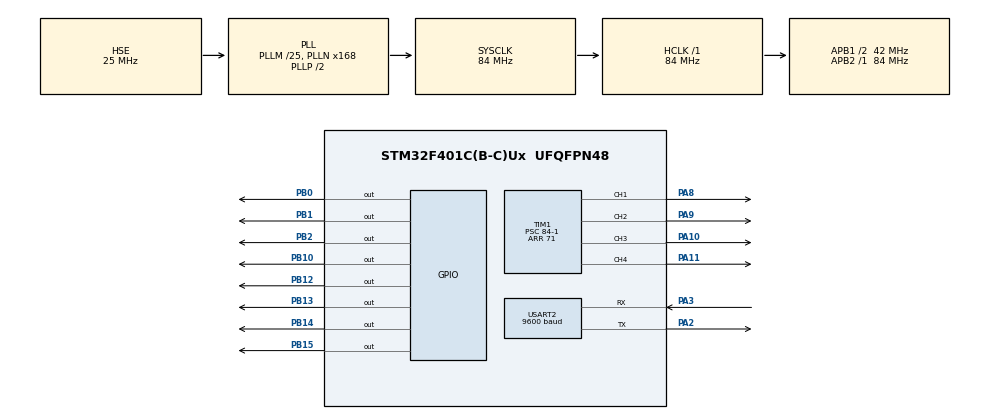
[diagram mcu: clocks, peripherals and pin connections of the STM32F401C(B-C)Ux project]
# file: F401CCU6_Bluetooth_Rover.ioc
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Mcu.Family=STM32F4
Mcu.Name=STM32F401C(B-C)Ux
Mcu.Package=UFQFPN48
NVIC.PriorityGroup=NVIC_PRIORITYGROUP_4
NVIC.USART2_IRQn=true\:0\:0\:false\:false\:true\:true\:true\:true
PA10.Signal=S_TIM1_CH3
PA11.Signal=S_TIM1_CH4
PA13.Mode=Serial_Wire
PA13.Signal=SYS_JTMS-SWDIO
PA14.Mode=Serial_Wire
PA14.Signal=SYS_JTCK-SWCLK
PA2.Mode=Asynchronous
PA2.Signal=USART2_TX
PA3.Mode=Asynchronous
PA3.Signal=USART2_RX
PA8.Signal=S_TIM1_CH1
PA9.Signal=S_TIM1_CH2
PB0.Signal=GPIO_Output
PB1.Signal=GPIO_Output
PB10.Signal=GPIO_Output
PB12.Signal=GPIO_Output
PB13.Signal=GPIO_Output
PB14.Signal=GPIO_Output
PB15.Signal=GPIO_Output
PB2.Signal=GPIO_Output
PC14-OSC32_IN.Mode=LSE-External-Oscillator
PC14-OSC32_IN.Signal=RCC_OSC32_IN
PC15-OSC32_OUT.Mode=LSE-External-Oscillator
PC15-OSC32_OUT.Signal=RCC_OSC32_OUT
PH0\ -\ OSC_IN.Mode=HSE-External-Oscillator
PH0\ -\ OSC_IN.Signal=RCC_OSC_IN
PH1\ -\ OSC_OUT.Mode=HSE-External-Oscillator
PH1\ -\ OSC_OUT.Signal=RCC_OSC_OUT
ProjectManager.HeapSize=0x200
ProjectManager.StackSize=0x400
ProjectManager.TargetToolchain=STM32CubeIDE
RCC.48MHZClocksFreq_Value=42000000
RCC.AHBFreq_Value=84000000
RCC.APB1CLKDivider=RCC_HCLK_DIV2
RCC.APB1Freq_Value=42000000
RCC.APB1TimFreq_Value=84000000
RCC.APB2Freq_Value=84000000
RCC.APB2TimFreq_Value=84000000
RCC.CortexFreq_Value=84000000
RCC.HCLKFreq_Value=84000000
RCC.HSE_VALUE=25000000
RCC.HSI_VALUE=16000000
RCC.PLLM=25
RCC.PLLN=168
RCC.PLLSourceVirtual=RCC_PLLSOURCE_HSE
RCC.SYSCLKFreq_VALUE=84000000
RCC.SYSCLKSource=RCC_SYSCLKSOURCE_PLLCLK
RCC.VCOOutputFreq_Value=168000000
SH.S_TIM1_CH1.0=TIM1_CH1,PWM Generation1 CH1
SH.S_TIM1_CH2.0=TIM1_CH2,PWM Generation2 CH2
SH.S_TIM1_CH3.0=TIM1_CH3,PWM Generation3 CH3
SH.S_TIM1_CH4.0=TIM1_CH4,PWM Generation4 CH4
TIM1.Channel-PWM\ Generation1\ CH1=TIM_CHANNEL_1
TIM1.Channel-PWM\ Generation2\ CH2=TIM_CHANNEL_2
TIM1.Channel-PWM\ Generation3\ CH3=TIM_CHANNEL_3
TIM1.Channel-PWM\ Generation4\ CH4=TIM_CHANNEL_4
TIM1.Period=71
TIM1.Prescaler=84-1
USART2.BaudRate=9600
USART2.VirtualMode=VM_ASYNC
VP_TIM1_VS_ClockSourceINT.Mode=Internal
board=custom

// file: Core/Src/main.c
/* USER CODE BEGIN Header */
/**
 ******************************************************************************
 * @file           : main.c
 * @brief          : Main program body
 ******************************************************************************
 * @attention
 *
 * Copyright (c) 2025 STMicroelectronics.
 * All rights reserved.
 *
 * This software is licensed under terms that can be found in the LICENSE file
 * in the root directory of this software component.
 * If no LICENSE file comes with this software, it is provided AS-IS.
 *
 ******************************************************************************
 */
/* USER CODE END Header */
#include "main.h"

/* USER CODE BEGIN Includes */
#define FORWARD   'F'   // Up Arrow
#define BACKWARD  'B'   // Down Arrow
#define LEFT      'L'   // Left Arrow
#define RIGHT     'R'   // Right Arrow

#define CIRCLE    'C'   // Circle → Rotate CW
#define CROSS     'X'   // Cross → Move FrontRight
#define TRIANGLE  'T'   // Triangle → Move FrontLeft
#define SQUARE    'S'   // Square → Rotate CCW

#define START     'A'   // Start
#define PAUSE     'P'   // Pause
/* USER CODE END Includes */

TIM_HandleTypeDef htim1;

UART_HandleTypeDef huart2;

/* USER CODE BEGIN PV */
#define RF_IN1_Pin GPIO_PIN_12
#define RF_IN2_Pin GPIO_PIN_13
#define RF_IN_Port GPIOB

#define RR_IN1_Pin GPIO_PIN_14
#define RR_IN2_Pin GPIO_PIN_15
#define RR_IN_Port GPIOB

#define LF_IN1_Pin GPIO_PIN_0
#define LF_IN2_Pin GPIO_PIN_1
#define LF_IN_Port GPIOB

#define LR_IN1_Pin GPIO_PIN_2
#define LR_IN2_Pin GPIO_PIN_10
#define LR_IN_Port GPIOB

#define PWM_MAX    999
#define PWM_SPEED  800
/* USER CODE END PV */

void SystemClock_Config(void);
static void MX_GPIO_Init(void);
static void MX_TIM1_Init(void);
static void MX_USART2_UART_Init(void);
/* USER CODE BEGIN PFP */
uint8_t rxData;
/* USER CODE END PFP */

/* USER CODE BEGIN 0 */
void SetAllMotorsPWM(uint16_t rf, uint16_t rr, uint16_t lf, uint16_t lr) {
	__HAL_TIM_SET_COMPARE(&htim1, TIM_CHANNEL_1, rf);  // PA8 RF
	__HAL_TIM_SET_COMPARE(&htim1, TIM_CHANNEL_2, rr);  // PA9 RR
	__HAL_TIM_SET_COMPARE(&htim1, TIM_CHANNEL_3, lf);  // PA10 LF
	__HAL_TIM_SET_COMPARE(&htim1, TIM_CHANNEL_4, lr);  // PA11 LR
}

void Motor_Stop(void) {
	SetAllMotorsPWM(0, 0, 0, 0);
	HAL_GPIO_WritePin(RF_IN_Port, RF_IN1_Pin | RF_IN2_Pin, GPIO_PIN_RESET);
	HAL_GPIO_WritePin(RR_IN_Port, RR_IN1_Pin | RR_IN2_Pin, GPIO_PIN_RESET);
	HAL_GPIO_WritePin(LF_IN_Port, LF_IN1_Pin | LF_IN2_Pin, GPIO_PIN_RESET);
	HAL_GPIO_WritePin(LR_IN_Port, LR_IN1_Pin | LR_IN2_Pin, GPIO_PIN_RESET);
}

/* ================== Movement Functions ================== */
void Move_Forward(void) {

	HAL_GPIO_WritePin(RF_IN_Port, RF_IN1_Pin, GPIO_PIN_RESET);
	HAL_GPIO_WritePin(RF_IN_Port, RF_IN2_Pin, GPIO_PIN_SET);

	HAL_GPIO_WritePin(RR_IN_Port, RR_IN1_Pin, GPIO_PIN_RESET);
	HAL_GPIO_WritePin(RR_IN_Port, RR_IN2_Pin, GPIO_PIN_SET);

	HAL_GPIO_WritePin(LF_IN_Port, LF_IN1_Pin, GPIO_PIN_RESET);
	HAL_GPIO_WritePin(LF_IN_Port, LF_IN2_Pin, GPIO_PIN_SET);

	HAL_GPIO_WritePin(LR_IN_Port, LR_IN1_Pin, GPIO_PIN_RESET);
	HAL_GPIO_WritePin(LR_IN_Port, LR_IN2_Pin, GPIO_PIN_SET);

	SetAllMotorsPWM(PWM_SPEED, PWM_SPEED, PWM_SPEED, PWM_SPEED);
}

void Move_Backward(void) {
	HAL_GPIO_WritePin(RF_IN_Port, RF_IN1_Pin, GPIO_PIN_SET);
	HAL_GPIO_WritePin(RF_IN_Port, RF_IN2_Pin, GPIO_PIN_RESET);

	HAL_GPIO_WritePin(RR_IN_Port, RR_IN1_Pin, GPIO_PIN_SET);
	HAL_GPIO_WritePin(RR_IN_Port, RR_IN2_Pin, GPIO_PIN_RESET);

	HAL_GPIO_WritePin(LF_IN_Port, LF_IN1_Pin, GPIO_PIN_SET);
	HAL_GPIO_WritePin(LF_IN_Port, LF_IN2_Pin, GPIO_PIN_RESET);

	HAL_GPIO_WritePin(LR_IN_Port, LR_IN1_Pin, GPIO_PIN_SET);
	HAL_GPIO_WritePin(LR_IN_Port, LR_IN2_Pin, GPIO_PIN_RESET);

	SetAllMotorsPWM(PWM_SPEED, PWM_SPEED, PWM_SPEED, PWM_SPEED);
}

void Move_Right(void) {
	// RF FWD, RR REV, LF REV, LR FWD
	HAL_GPIO_WritePin(RF_IN_Port, RF_IN1_Pin, GPIO_PIN_RESET);
	HAL_GPIO_WritePin(RF_IN_Port, RF_IN2_Pin, GPIO_PIN_SET);

	HAL_GPIO_WritePin(RR_IN_Port, RR_IN1_Pin, GPIO_PIN_SET);
	HAL_GPIO_WritePin(RR_IN_Port, RR_IN2_Pin, GPIO_PIN_RESET);

	HAL_GPIO_WritePin(LF_IN_Port, LF_IN1_Pin, GPIO_PIN_RESET);
	HAL_GPIO_WritePin(LF_IN_Port, LF_IN2_Pin, GPIO_PIN_SET);

	HAL_GPIO_WritePin(LR_IN_Port, LR_IN1_Pin, GPIO_PIN_SET);
	HAL_GPIO_WritePin(LR_IN_Port, LR_IN2_Pin, GPIO_PIN_RESET);

	SetAllMotorsPWM(PWM_SPEED, PWM_SPEED, PWM_SPEED, PWM_SPEED);
}

void Move_Left(void) {
	// RF REV, RR FWD, LF FWD, LR REV
	HAL_GPIO_WritePin(RF_IN_Port, RF_IN1_Pin, GPIO_PIN_SET);
	HAL_GPIO_WritePin(RF_IN_Port, RF_IN2_Pin, GPIO_PIN_RESET);

	HAL_GPIO_WritePin(RR_IN_Port, RR_IN1_Pin, GPIO_PIN_RESET);
	HAL_GPIO_WritePin(RR_IN_Port, RR_IN2_Pin, GPIO_PIN_SET);

	HAL_GPIO_WritePin(LF_IN_Port, LF_IN1_Pin, GPIO_PIN_SET);
	HAL_GPIO_WritePin(LF_IN_Port, LF_IN2_Pin, GPIO_PIN_RESET);

	HAL_GPIO_WritePin(LR_IN_Port, LR_IN1_Pin, GPIO_PIN_RESET);
	HAL_GPIO_WritePin(LR_IN_Port, LR_IN2_Pin, GPIO_PIN_SET);

	SetAllMotorsPWM(PWM_SPEED, PWM_SPEED, PWM_SPEED, PWM_SPEED);
}

void Rotate_CW(void) {
	// RF REV, RR REV, LF FWD, LR FWD
	HAL_GPIO_WritePin(RF_IN_Port, RF_IN1_Pin, GPIO_PIN_RESET);
	HAL_GPIO_WritePin(RF_IN_Port, RF_IN2_Pin, GPIO_PIN_SET);

	HAL_GPIO_WritePin(RR_IN_Port, RR_IN1_Pin, GPIO_PIN_RESET);
	HAL_GPIO_WritePin(RR_IN_Port, RR_IN2_Pin, GPIO_PIN_SET);

	HAL_GPIO_WritePin(LF_IN_Port, LF_IN1_Pin, GPIO_PIN_SET);
	HAL_GPIO_WritePin(LF_IN_Port, LF_IN2_Pin, GPIO_PIN_RESET);

	HAL_GPIO_WritePin(LR_IN_Port, LR_IN1_Pin, GPIO_PIN_SET);
	HAL_GPIO_WritePin(LR_IN_Port, LR_IN2_Pin, GPIO_PIN_RESET);

	SetAllMotorsPWM(PWM_SPEED, PWM_SPEED, PWM_SPEED, PWM_SPEED);
}

void Rotate_CCW(void) {
	// RF FWD, RR FWD, LF REV, LR REV
	HAL_GPIO_WritePin(RF_IN_Port, RF_IN1_Pin, GPIO_PIN_SET);
	HAL_GPIO_WritePin(RF_IN_Port, RF_IN2_Pin, GPIO_PIN_RESET);

	HAL_GPIO_WritePin(RR_IN_Port, RR_IN1_Pin, GPIO_PIN_SET);
	HAL_GPIO_WritePin(RR_IN_Port, RR_IN2_Pin, GPIO_PIN_RESET);

	HAL_GPIO_WritePin(LF_IN_Port, LF_IN1_Pin, GPIO_PIN_RESET);
	HAL_GPIO_WritePin(LF_IN_Port, LF_IN2_Pin, GPIO_PIN_SET);

	HAL_GPIO_WritePin(LR_IN_Port, LR_IN1_Pin, GPIO_PIN_RESET);
	HAL_GPIO_WritePin(LR_IN_Port, LR_IN2_Pin, GPIO_PIN_SET);

	SetAllMotorsPWM(PWM_SPEED, PWM_SPEED, PWM_SPEED, PWM_SPEED);
}

void Move_FrontLeft(void) {
	// RF forward
	HAL_GPIO_WritePin(RF_IN_Port, RF_IN1_Pin, GPIO_PIN_SET);
	HAL_GPIO_WritePin(RF_IN_Port, RF_IN2_Pin, GPIO_PIN_RESET);

	// LR forward
	HAL_GPIO_WritePin(LF_IN_Port, LF_IN1_Pin, GPIO_PIN_SET);
	HAL_GPIO_WritePin(LF_IN_Port, LF_IN2_Pin, GPIO_PIN_RESET);

	// Stop RR, LF
	HAL_GPIO_WritePin(RR_IN_Port, RR_IN1_Pin | RR_IN2_Pin, GPIO_PIN_RESET);
	HAL_GPIO_WritePin(LR_IN_Port, LR_IN1_Pin | LR_IN2_Pin, GPIO_PIN_RESET);

	SetAllMotorsPWM(PWM_SPEED, PWM_SPEED, PWM_SPEED, PWM_SPEED);
}

void Move_FrontRight(void) {
	// LF forward
	HAL_GPIO_WritePin(RF_IN_Port, RF_IN1_Pin, GPIO_PIN_RESET);
	HAL_GPIO_WritePin(RF_IN_Port, RF_IN2_Pin, GPIO_PIN_SET);

	// LR forward
	HAL_GPIO_WritePin(LF_IN_Port, LF_IN1_Pin, GPIO_PIN_RESET);
	HAL_GPIO_WritePin(LF_IN_Port, LF_IN2_Pin, GPIO_PIN_SET);

	// Stop RR, LF
	HAL_GPIO_WritePin(RR_IN_Port, RR_IN1_Pin | RR_IN2_Pin, GPIO_PIN_RESET);
	HAL_GPIO_WritePin(LR_IN_Port, LR_IN1_Pin | LR_IN2_Pin, GPIO_PIN_RESET);

	SetAllMotorsPWM(PWM_SPEED, PWM_SPEED, PWM_SPEED, PWM_SPEED);
}

void Move_BackLeft(void) {
	// LF backward
	HAL_GPIO_WritePin(LR_IN_Port, LR_IN1_Pin, GPIO_PIN_RESET);
	HAL_GPIO_WritePin(LR_IN_Port, LR_IN2_Pin, GPIO_PIN_SET);

	// RR backward
	HAL_GPIO_WritePin(RR_IN_Port, RR_IN1_Pin, GPIO_PIN_RESET);
	HAL_GPIO_WritePin(RR_IN_Port, RR_IN2_Pin, GPIO_PIN_SET);

	// Stop RF, LR
	HAL_GPIO_WritePin(RF_IN_Port, RF_IN1_Pin | RF_IN2_Pin, GPIO_PIN_RESET);
	HAL_GPIO_WritePin(LF_IN_Port, LF_IN1_Pin | LF_IN2_Pin, GPIO_PIN_RESET);

	SetAllMotorsPWM(PWM_SPEED, PWM_SPEED, PWM_SPEED, PWM_SPEED);
}

void Move_BackRight(void) {
	// RF backward
	HAL_GPIO_WritePin(LR_IN_Port, LR_IN1_Pin, GPIO_PIN_SET);
	HAL_GPIO_WritePin(LR_IN_Port, LR_IN2_Pin, GPIO_PIN_RESET);

	// RR backward
	HAL_GPIO_WritePin(RR_IN_Port, RR_IN1_Pin, GPIO_PIN_SET);
	HAL_GPIO_WritePin(RR_IN_Port, RR_IN2_Pin, GPIO_PIN_RESET);

	// Stop RF, LR
	HAL_GPIO_WritePin(RF_IN_Port, RF_IN1_Pin | RF_IN2_Pin, GPIO_PIN_RESET);
	HAL_GPIO_WritePin(LF_IN_Port, LF_IN1_Pin | LF_IN2_Pin, GPIO_PIN_RESET);

	SetAllMotorsPWM(PWM_SPEED, PWM_SPEED, PWM_SPEED, PWM_SPEED);
}

/* USER CODE END 0 */

int main(void) {

	/* MCU Configuration--------------------------------------------------------*/

	/* Reset of all peripherals, Initializes the Flash interface and the Systick. */
	HAL_Init();

	/* Configure the system clock */
	SystemClock_Config();

	/* Initialize all configured peripherals */
	MX_GPIO_Init();
	MX_TIM1_Init();
	MX_USART2_UART_Init();
	/* USER CODE BEGIN 2 */
	HAL_TIM_PWM_Start(&htim1, TIM_CHANNEL_1);
	HAL_TIM_PWM_Start(&htim1, TIM_CHANNEL_2);
	HAL_TIM_PWM_Start(&htim1, TIM_CHANNEL_3);
	HAL_TIM_PWM_Start(&htim1, TIM_CHANNEL_4);

	Motor_Stop();
	/* USER CODE END 2 */

	/* Infinite loop */
	while (1) {
		if (HAL_UART_Receive(&huart2, &rxData, 1, 100) == HAL_OK) {
			switch (rxData) {
			/* Left Side Arrows */
			case FORWARD:   // 'F'
				Move_Forward();
				break;
			case BACKWARD:  // 'B'
				Move_Backward();
				break;
			case LEFT:      // 'L'
				Move_Right();
				break;
			case RIGHT:     // 'R'
				Move_Left();
				break;

				/* Right Side Symbols */
			case CIRCLE:    // 'C'
				Rotate_CW();
				break;
			case SQUARE:    // 'S'
				Rotate_CCW();
				break;
			case TRIANGLE:  // 'T'
				Move_FrontLeft();
				break;
			case CROSS:     // 'X'
				Move_FrontRight();
				break;

				/* Start / Pause */
			case START:     // 'A'
				Move_Forward();   // or you can start motors in idle
				break;
			case PAUSE:     // 'P'
				Motor_Stop();
				break;

			default:
				Motor_Stop();
				break;
			}
		}

		/* USER CODE END 3 */
	}
}

void SystemClock_Config(void) {
	RCC_OscInitTypeDef RCC_OscInitStruct = { 0 };
	RCC_ClkInitTypeDef RCC_ClkInitStruct = { 0 };

	/** Configure the main internal regulator output voltage
	 */
	__HAL_RCC_PWR_CLK_ENABLE();
	__HAL_PWR_VOLTAGESCALING_CONFIG(PWR_REGULATOR_VOLTAGE_SCALE2);

	/** Initializes the RCC Oscillators according to the specified parameters
	 * in the RCC_OscInitTypeDef structure.
	 */
	RCC_OscInitStruct.OscillatorType = RCC_OSCILLATORTYPE_HSE;
	RCC_OscInitStruct.HSEState = RCC_HSE_ON;
	RCC_OscInitStruct.PLL.PLLState = RCC_PLL_ON;
	RCC_OscInitStruct.PLL.PLLSource = RCC_PLLSOURCE_HSE;
	RCC_OscInitStruct.PLL.PLLM = 25;
	RCC_OscInitStruct.PLL.PLLN = 168;
	RCC_OscInitStruct.PLL.PLLP = RCC_PLLP_DIV2;
	RCC_OscInitStruct.PLL.PLLQ = 4;
	if (HAL_RCC_OscConfig(&RCC_OscInitStruct) != HAL_OK) {
		Error_Handler();
	}

	/** Initializes the CPU, AHB and APB buses clocks
	 */
	RCC_ClkInitStruct.ClockType = RCC_CLOCKTYPE_HCLK | RCC_CLOCKTYPE_SYSCLK
			| RCC_CLOCKTYPE_PCLK1 | RCC_CLOCKTYPE_PCLK2;
	RCC_ClkInitStruct.SYSCLKSource = RCC_SYSCLKSOURCE_PLLCLK;
	RCC_ClkInitStruct.AHBCLKDivider = RCC_SYSCLK_DIV1;
	RCC_ClkInitStruct.APB1CLKDivider = RCC_HCLK_DIV2;
	RCC_ClkInitStruct.APB2CLKDivider = RCC_HCLK_DIV1;

	if (HAL_RCC_ClockConfig(&RCC_ClkInitStruct, FLASH_LATENCY_2) != HAL_OK) {
		Error_Handler();
	}
}

static void MX_TIM1_Init(void) {

	TIM_ClockConfigTypeDef sClockSourceConfig = { 0 };
	TIM_MasterConfigTypeDef sMasterConfig = { 0 };
	TIM_OC_InitTypeDef sConfigOC = { 0 };
	TIM_BreakDeadTimeConfigTypeDef sBreakDeadTimeConfig = { 0 };

	htim1.Instance = TIM1;
	htim1.Init.Prescaler = 84 - 1;
	htim1.Init.CounterMode = TIM_COUNTERMODE_UP;
	htim1.Init.Period = 71;
	htim1.Init.ClockDivision = TIM_CLOCKDIVISION_DIV1;
	htim1.Init.RepetitionCounter = 0;
	htim1.Init.AutoReloadPreload = TIM_AUTORELOAD_PRELOAD_DISABLE;
	if (HAL_TIM_Base_Init(&htim1) != HAL_OK) {
		Error_Handler();
	}
	sClockSourceConfig.ClockSource = TIM_CLOCKSOURCE_INTERNAL;
	if (HAL_TIM_ConfigClockSource(&htim1, &sClockSourceConfig) != HAL_OK) {
		Error_Handler();
	}
	if (HAL_TIM_PWM_Init(&htim1) != HAL_OK) {
		Error_Handler();
	}
	sMasterConfig.MasterOutputTrigger = TIM_TRGO_RESET;
	sMasterConfig.MasterSlaveMode = TIM_MASTERSLAVEMODE_DISABLE;
	if (HAL_TIMEx_MasterConfigSynchronization(&htim1, &sMasterConfig)
			!= HAL_OK) {
		Error_Handler();
	}
	sConfigOC.OCMode = TIM_OCMODE_PWM1;
	sConfigOC.Pulse = 0;
	sConfigOC.OCPolarity = TIM_OCPOLARITY_HIGH;
	sConfigOC.OCNPolarity = TIM_OCNPOLARITY_HIGH;
	sConfigOC.OCFastMode = TIM_OCFAST_DISABLE;
	sConfigOC.OCIdleState = TIM_OCIDLESTATE_RESET;
	sConfigOC.OCNIdleState = TIM_OCNIDLESTATE_RESET;
	if (HAL_TIM_PWM_ConfigChannel(&htim1, &sConfigOC, TIM_CHANNEL_1)
			!= HAL_OK) {
		Error_Handler();
	}
	if (HAL_TIM_PWM_ConfigChannel(&htim1, &sConfigOC, TIM_CHANNEL_2)
			!= HAL_OK) {
		Error_Handler();
	}
	if (HAL_TIM_PWM_ConfigChannel(&htim1, &sConfigOC, TIM_CHANNEL_3)
			!= HAL_OK) {
		Error_Handler();
	}
	if (HAL_TIM_PWM_ConfigChannel(&htim1, &sConfigOC, TIM_CHANNEL_4)
			!= HAL_OK) {
		Error_Handler();
	}
	sBreakDeadTimeConfig.OffStateRunMode = TIM_OSSR_DISABLE;
	sBreakDeadTimeConfig.OffStateIDLEMode = TIM_OSSI_DISABLE;
	sBreakDeadTimeConfig.LockLevel = TIM_LOCKLEVEL_OFF;
	sBreakDeadTimeConfig.DeadTime = 0;
	sBreakDeadTimeConfig.BreakState = TIM_BREAK_DISABLE;
	sBreakDeadTimeConfig.BreakPolarity = TIM_BREAKPOLARITY_HIGH;
	sBreakDeadTimeConfig.AutomaticOutput = TIM_AUTOMATICOUTPUT_DISABLE;
	if (HAL_TIMEx_ConfigBreakDeadTime(&htim1, &sBreakDeadTimeConfig)
			!= HAL_OK) {
		Error_Handler();
	}
	HAL_TIM_MspPostInit(&htim1);

}

static void MX_USART2_UART_Init(void) {

	huart2.Instance = USART2;
	huart2.Init.BaudRate = 9600;
	huart2.Init.WordLength = UART_WORDLENGTH_8B;
	huart2.Init.StopBits = UART_STOPBITS_1;
	huart2.Init.Parity = UART_PARITY_NONE;
	huart2.Init.Mode = UART_MODE_TX_RX;
	huart2.Init.HwFlowCtl = UART_HWCONTROL_NONE;
	huart2.Init.OverSampling = UART_OVERSAMPLING_16;
	if (HAL_UART_Init(&huart2) != HAL_OK) {
		Error_Handler();
	}

}

static void MX_GPIO_Init(void) {
	GPIO_InitTypeDef GPIO_InitStruct = { 0 };

	/* GPIO Ports Clock Enable */
	__HAL_RCC_GPIOC_CLK_ENABLE();
	__HAL_RCC_GPIOH_CLK_ENABLE();
	__HAL_RCC_GPIOA_CLK_ENABLE();
	__HAL_RCC_GPIOB_CLK_ENABLE();

	/*Configure GPIO pin Output Level */
	HAL_GPIO_WritePin(GPIOB,
			GPIO_PIN_0 | GPIO_PIN_1 | GPIO_PIN_2 | GPIO_PIN_10 | GPIO_PIN_12
					| GPIO_PIN_13 | GPIO_PIN_14 | GPIO_PIN_15, GPIO_PIN_RESET);

	/*Configure GPIO pins : PB0 PB1 PB2 PB10
	 PB12 PB13 PB14 PB15 */
	GPIO_InitStruct.Pin = GPIO_PIN_0 | GPIO_PIN_1 | GPIO_PIN_2 | GPIO_PIN_10
			| GPIO_PIN_12 | GPIO_PIN_13 | GPIO_PIN_14 | GPIO_PIN_15;
	GPIO_InitStruct.Mode = GPIO_MODE_OUTPUT_PP;
	GPIO_InitStruct.Pull = GPIO_NOPULL;
	GPIO_InitStruct.Speed = GPIO_SPEED_FREQ_LOW;
	HAL_GPIO_Init(GPIOB, &GPIO_InitStruct);

}

void Error_Handler(void) {
	__disable_irq();
	while (1) {
	}
}
